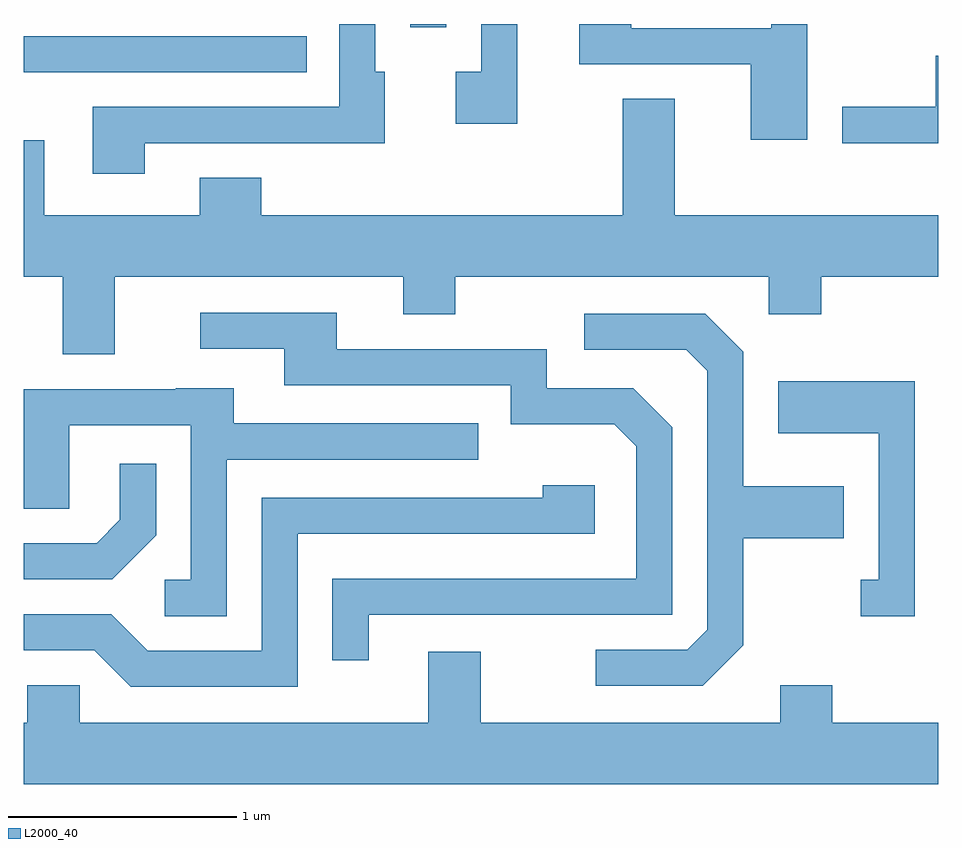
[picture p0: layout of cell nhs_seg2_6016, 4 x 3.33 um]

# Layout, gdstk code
import gdstk
lib = gdstk.Library(unit=1e-6, precision=1e-09)
def R(c, l, rs):  # rectangles x0, y0, x1, y1
    for r in rs: c.add(gdstk.rectangle(r[:2], r[2:], *l))
def P(c, l, *ps):  # polygons
    for p in ps: c.add(gdstk.Polygon(p, *l))
L2000_40 = (2000, 40)

nhs_seg2_6016 = lib.new_cell('nhs_seg2_6016')
R(nhs_seg2_6016, L2000_40, [(361.611,1113.591,362.848,1113.749), (363.301,1113.788,363.459,1113.802)])
P(nhs_seg2_6016, L2000_40, [(365.039,1113.802),(364.881,1113.802),(364.881,1113.784),(364.269,1113.784),(364.269,1113.802),(364.041,1113.802),(364.041,1113.626),(364.791,1113.626),(364.791,1113.296),(365.039,1113.296)],
  [(363.769,1113.802),(363.611,1113.802),(363.611,1113.594),(363.501,1113.594),(363.501,1113.366),(363.769,1113.366)],
  [(362.139,1113.281),(363.189,1113.281),(363.189,1113.594),(363.149,1113.594),(363.149,1113.802),(362.991,1113.802),(362.991,1113.439),(361.911,1113.439),(361.911,1113.146),(362.139,1113.146)],
  [(365.611,1113.664),(365.601,1113.664),(365.601,1113.439),(365.193,1113.439),(365.193,1113.281),(365.611,1113.281)],
  [(362.649,1113.129),(362.381,1113.129),(362.381,1112.964),(361.699,1112.964),(361.699,1113.294),(361.611,1113.294),(361.611,1112.696),(361.781,1112.696),(361.781,1112.356),(362.009,1112.356),(362.009,1112.696),(363.271,1112.696),(363.271,1112.531),(363.499,1112.531),(363.499,1112.696),(364.871,1112.696),(364.871,1112.531),(365.099,1112.531),(365.099,1112.696),(365.611,1112.696),(365.611,1112.964),(364.459,1112.964),(364.459,1113.474),(364.231,1113.474),(364.231,1112.964),(362.649,1112.964)],
  [(363.119,1111.216),(364.449,1111.216),(364.449,1112.037),(364.277,1112.209),(363.899,1112.209),(363.899,1112.379),(362.979,1112.379),(362.979,1112.539),(362.383,1112.539),(362.383,1112.381),(362.751,1112.381),(362.751,1112.221),(363.741,1112.221),(363.741,1112.051),(364.194,1112.051),(364.291,1111.954),(364.291,1111.374),(362.961,1111.374),(362.961,1111.018),(363.119,1111.018)],
  [(364.759,1111.084),(364.759,1111.551),(365.199,1111.551),(365.199,1111.779),(364.759,1111.779),(364.759,1112.367),(364.592,1112.534),(364.063,1112.534),(364.063,1112.376),(364.509,1112.376),(364.601,1112.284),(364.601,1111.152),(364.514,1111.064),(364.113,1111.064),(364.113,1110.906),(364.582,1110.906)],
  [(365.509,1112.239),(364.911,1112.239),(364.911,1112.011),(365.351,1112.011),(365.351,1111.369),(365.273,1111.369),(365.273,1111.211),(365.509,1111.211)],
  [(362.499,1111.896),(363.598,1111.896),(363.598,1112.054),(362.529,1112.054),(362.529,1112.209),(362.275,1112.209),(362.275,1112.204),(361.611,1112.204),(361.611,1111.681),(361.809,1111.681),(361.809,1112.046),(362.341,1112.046),(362.341,1111.369),(362.228,1111.369),(362.228,1111.211),(362.499,1111.211)],
  [(362.189,1111.564),(362.189,1111.878),(362.031,1111.878),(362.031,1111.632),(361.929,1111.529),(361.611,1111.529),(361.611,1111.371),(361.997,1111.371)],
  [(362.809,1111.571),(364.109,1111.571),(364.109,1111.784),(363.881,1111.784),(363.881,1111.729),(362.651,1111.729),(362.651,1111.059),(362.152,1111.059),(361.992,1111.219),(361.611,1111.219),(361.611,1111.061),(361.919,1111.061),(362.079,1110.901),(362.809,1110.901)],
  [(365.611,1110.744),(365.149,1110.744),(365.149,1110.909),(364.921,1110.909),(364.921,1110.744),(363.609,1110.744),(363.609,1111.054),(363.381,1111.054),(363.381,1110.744),(361.854,1110.744),(361.854,1110.909),(361.626,1110.909),(361.626,1110.744),(361.611,1110.744),(361.611,1110.476),(365.611,1110.476)])

lib.write_gds('nhs_seg2_6016.gds')
